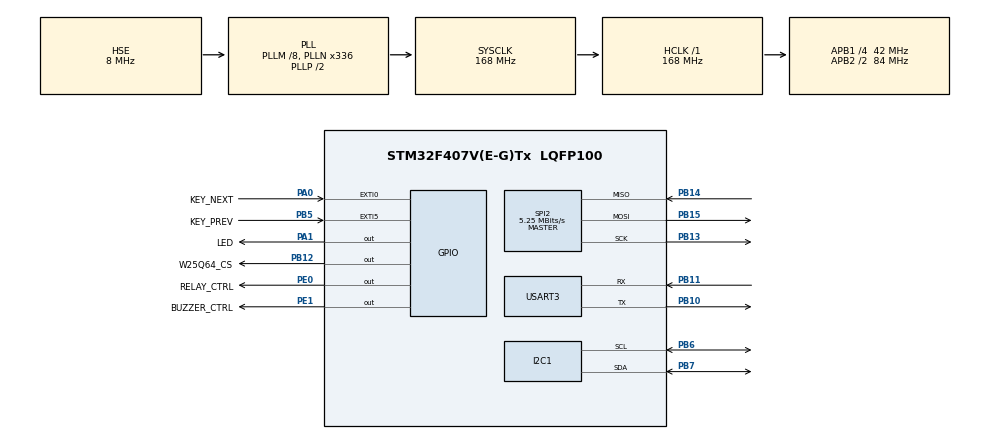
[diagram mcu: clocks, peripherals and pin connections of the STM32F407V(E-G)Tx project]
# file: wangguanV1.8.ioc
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FREERTOS.Mutexes01=i2c1Mutex,Static,i2c1MutexControlBlock,Available
FREERTOS.Queues01=sensorQueue,10,SensorMessage_t,0,Static,sensorQueueBuffer,ssensorQueueControlBlock;uiEventQueue,4,uint8_t,0,Dynamic,NULL,NULL
FREERTOS.Tasks01=defaultTask,8,128,StartDefaultTask,Default,NULL,Dynamic,NULL,NULL;SensorTask,32,512,StartSensorTask,Default,NULL,Dynamic,NULL,NULL;ProcessTask,24,512,StartProcessTask,Default,NULL,Dynamic,NULL,NULL;UITask,16,512,StartUITask,Default,NULL,Dynamic,NULL,NULL;CommTask,16,768,StartCommTask,Default,NULL,Dynamic,NULL,NULL
FREERTOS.configTIMER_TASK_STACK_DEPTH=256
Mcu.Family=STM32F4
Mcu.Name=STM32F407V(E-G)Tx
Mcu.Package=LQFP100
NVIC.EXTI0_IRQn=true\:5\:0\:false\:false\:true\:true\:true\:true\:true
NVIC.EXTI9_5_IRQn=true\:5\:0\:false\:false\:true\:true\:true\:true\:true
NVIC.PriorityGroup=NVIC_PRIORITYGROUP_4
NVIC.TIM6_DAC_IRQn=true\:15\:0\:false\:false\:true\:false\:false\:true\:true
NVIC.TimeBase=TIM6_DAC_IRQn
NVIC.TimeBaseIP=TIM6
PA0-WKUP.GPIO_Label=KEY_NEXT
PA0-WKUP.GPIO_PuPd=GPIO_PULLDOWN
PA0-WKUP.Signal=GPXTI0
PA1.GPIO_Label=LED
PA1.PinState=GPIO_PIN_SET
PA1.Signal=GPIO_Output
PA13.Mode=Serial_Wire
PA13.Signal=SYS_JTMS-SWDIO
PA14.Mode=Serial_Wire
PA14.Signal=SYS_JTCK-SWCLK
PB10.Mode=Asynchronous
PB10.Signal=USART3_TX
PB11.Mode=Asynchronous
PB11.Signal=USART3_RX
PB12.GPIO_Label=W25Q64_CS
PB12.GPIO_PuPd=GPIO_NOPULL
PB12.PinState=GPIO_PIN_SET
PB12.Signal=GPIO_Output
PB13.Mode=Full_Duplex_Master
PB13.Signal=SPI2_SCK
PB14.Mode=Full_Duplex_Master
PB14.Signal=SPI2_MISO
PB15.Mode=Full_Duplex_Master
PB15.Signal=SPI2_MOSI
PB5.GPIO_Label=KEY_PREV
PB5.GPIO_ModeDefaultEXTI=GPIO_MODE_IT_FALLING
PB5.GPIO_PuPd=GPIO_PULLUP
PB5.Signal=GPXTI5
PB6.Mode=I2C
PB6.Signal=I2C1_SCL
PB7.Mode=I2C
PB7.Signal=I2C1_SDA
PE0.GPIO_Label=RELAY_CTRL
PE0.Signal=GPIO_Output
PE1.GPIO_Label=BUZZER_CTRL
PE1.Signal=GPIO_Output
PH0-OSC_IN.Mode=HSE-External-Oscillator
PH0-OSC_IN.Signal=RCC_OSC_IN
PH1-OSC_OUT.Mode=HSE-External-Oscillator
PH1-OSC_OUT.Signal=RCC_OSC_OUT
ProjectManager.HeapSize=0x200
ProjectManager.StackSize=0x400
ProjectManager.TargetToolchain=MDK-ARM V5.32
RCC.48MHZClocksFreq_Value=84000000
RCC.AHBFreq_Value=168000000
RCC.APB1CLKDivider=RCC_HCLK_DIV4
RCC.APB1Freq_Value=42000000
RCC.APB1TimFreq_Value=84000000
RCC.APB2CLKDivider=RCC_HCLK_DIV2
RCC.APB2Freq_Value=84000000
RCC.APB2TimFreq_Value=168000000
RCC.CortexFreq_Value=168000000
RCC.HCLKFreq_Value=168000000
RCC.HSE_VALUE=8000000
RCC.HSI_VALUE=16000000
RCC.LSE_VALUE=32768
RCC.PLLM=8
RCC.PLLN=336
RCC.PLLSourceVirtual=RCC_PLLSOURCE_HSE
RCC.SYSCLKFreq_VALUE=168000000
RCC.SYSCLKSource=RCC_SYSCLKSOURCE_PLLCLK
RCC.VCOOutputFreq_Value=336000000
SPI2.BaudRatePrescaler=SPI_BAUDRATEPRESCALER_8
SPI2.CalculateBaudRate=5.25 MBits/s
SPI2.Direction=SPI_DIRECTION_2LINES
SPI2.Mode=SPI_MODE_MASTER
SPI2.VirtualType=VM_MASTER
USART3.VirtualMode=VM_ASYNC
VP_FREERTOS_VS_CMSIS_V2.Mode=CMSIS_V2
VP_SYS_VS_tim6.Mode=TIM6
board=custom

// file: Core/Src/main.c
/* USER CODE BEGIN Header */
/**
  ******************************************************************************
  * @file           : main.c
  * @brief          : Main program body
  ******************************************************************************
  * @attention
  *
  * Copyright (c) 2026 STMicroelectronics.
  * All rights reserved.
  *
  * This software is licensed under terms that can be found in the LICENSE file
  * in the root directory of this software component.
  * If no LICENSE file comes with this software, it is provided AS-IS.
  *
  ******************************************************************************
  */
/* USER CODE END Header */
#include "main.h"
#include "cmsis_os.h"
#include "i2c.h"
#include "spi.h"
#include "usart.h"
#include "gpio.h"

/* USER CODE BEGIN Includes */
#include "oled.h"
/* USER CODE END Includes */

void SystemClock_Config(void);
void MX_FREERTOS_Init(void);

int main(void)
{

  /* MCU Configuration--------------------------------------------------------*/

  /* Reset of all peripherals, Initializes the Flash interface and the Systick. */
  HAL_Init();

  /* Configure the system clock */
  SystemClock_Config();

  /* Initialize all configured peripherals */
  MX_GPIO_Init();
  MX_I2C1_Init();
  MX_SPI2_Init();
  MX_USART3_UART_Init();
  /* USER CODE BEGIN 2 */

	OLED_Init();

  /* USER CODE END 2 */

  /* Init scheduler */
  osKernelInitialize();  /* Call init function for freertos objects (in cmsis_os2.c) */
  MX_FREERTOS_Init();

  /* Start scheduler */
  osKernelStart();

  /* We should never get here as control is now taken by the scheduler */

  /* Infinite loop */
  while (1)
  {

  }
}

void SystemClock_Config(void)
{
  RCC_OscInitTypeDef RCC_OscInitStruct = {0};
  RCC_ClkInitTypeDef RCC_ClkInitStruct = {0};

  /** Configure the main internal regulator output voltage
  */
  __HAL_RCC_PWR_CLK_ENABLE();
  __HAL_PWR_VOLTAGESCALING_CONFIG(PWR_REGULATOR_VOLTAGE_SCALE1);

  /** Initializes the RCC Oscillators according to the specified parameters
  * in the RCC_OscInitTypeDef structure.
  */
  RCC_OscInitStruct.OscillatorType = RCC_OSCILLATORTYPE_HSE;
  RCC_OscInitStruct.HSEState = RCC_HSE_ON;
  RCC_OscInitStruct.PLL.PLLState = RCC_PLL_ON;
  RCC_OscInitStruct.PLL.PLLSource = RCC_PLLSOURCE_HSE;
  RCC_OscInitStruct.PLL.PLLM = 8;
  RCC_OscInitStruct.PLL.PLLN = 336;
  RCC_OscInitStruct.PLL.PLLP = RCC_PLLP_DIV2;
  RCC_OscInitStruct.PLL.PLLQ = 4;
  if (HAL_RCC_OscConfig(&RCC_OscInitStruct) != HAL_OK)
  {
    Error_Handler();
  }

  /** Initializes the CPU, AHB and APB buses clocks
  */
  RCC_ClkInitStruct.ClockType = RCC_CLOCKTYPE_HCLK|RCC_CLOCKTYPE_SYSCLK
                              |RCC_CLOCKTYPE_PCLK1|RCC_CLOCKTYPE_PCLK2;
  RCC_ClkInitStruct.SYSCLKSource = RCC_SYSCLKSOURCE_PLLCLK;
  RCC_ClkInitStruct.AHBCLKDivider = RCC_SYSCLK_DIV1;
  RCC_ClkInitStruct.APB1CLKDivider = RCC_HCLK_DIV4;
  RCC_ClkInitStruct.APB2CLKDivider = RCC_HCLK_DIV2;

  if (HAL_RCC_ClockConfig(&RCC_ClkInitStruct, FLASH_LATENCY_5) != HAL_OK)
  {
    Error_Handler();
  }
}

void HAL_TIM_PeriodElapsedCallback(TIM_HandleTypeDef *htim)
{
  if (htim->Instance == TIM6)
  {
    HAL_IncTick();
  }
}

void Error_Handler(void)
{
  __disable_irq();
  while (1)
  {
  }
}

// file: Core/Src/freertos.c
/* USER CODE BEGIN Header */
/**
  ******************************************************************************
  * File Name          : freertos.c
  * Description        : Code for freertos applications
  ******************************************************************************
  * @attention
  *
  * Copyright (c) 2026 STMicroelectronics.
  * All rights reserved.
  *
  * This software is licensed under terms that can be found in the LICENSE file
  * in the root directory of this software component.
  * If no LICENSE file comes with this software, it is provided AS-IS.
  *
  ******************************************************************************
  */
/* USER CODE END Header */

#include "FreeRTOS.h"
#include "task.h"
#include "main.h"
#include "cmsis_os.h"

/* USER CODE BEGIN Includes */
#include "mpu6050.h"
#include "sensor_data.h"
#include "sht30.h"
#include "oled.h"
#include "math.h"
#include "stddef.h"
#include "usart.h"
#include <stdio.h>
/* USER CODE END Includes */

typedef StaticQueue_t osStaticMessageQDef_t;
typedef StaticSemaphore_t osStaticMutexDef_t;
/* USER CODE BEGIN PTD */
osMutexId_t telemetryMutexHandle;
/* USER CODE END PTD */

/* USER CODE BEGIN PD */
#define UI_EVENT_NEXT    ((uint8_t)1U)
#define UI_EVENT_PREV    ((uint8_t)2U)
#define VIBRATION_WINDOW_SAMPLES    100U
#define ACCEL_HPF_ALPHA             0.9845f

#define VIBRATION_WARN_ENTER_G       0.05f
#define VIBRATION_WARN_CLEAR_G       0.04f

#define VIBRATION_CRITICAL_ENTER_G   0.15f
#define VIBRATION_CRITICAL_CLEAR_G   0.12f
/* USER CODE END PD */

/* USER CODE BEGIN Variables */
/* MPU650*/
MPU6050_RawData_t g_mpu_data;

MPU6050_PhysicalData_t g_mpu_physical_data;

volatile HAL_StatusTypeDef g_mpu_status;

/* 队列消息 */
SensorMessage_t g_process_message;
//记录发送次数
volatile uint32_t g_sensor_queue_send_count = 0U;
//记录丢帧次数
volatile uint32_t g_sensor_queue_drop_count = 0U;

/* I2CMutex 错误统计变量 */
volatile uint32_t g_i2c1_mutex_error_count = 0U;

/* SHT30 */
//测试sht30用
SHT30_Data_t g_sht30_data;
volatile HAL_StatusTypeDef g_sht30_start_status;
volatile HAL_StatusTypeDef g_sht30_read_status;
volatile uint32_t g_sht30_read_count = 0U;
volatile uint32_t g_sht30_error_count = 0U;

/* OLED分块刷新调试变量 */
volatile uint32_t g_oled_mutex_retry_count = 0U;

volatile uint32_t g_oled_update_error_count = 0U;

/* ProcessTask */
// ProcessTask 接收到的传感器数据缓存
MPU6050_SensorData_t g_process_mpu_data;
SHT30_SensorData_t   g_process_sht30_data;
//g_telemetry作为ProcessTask 的共享数据
Telemetry_t g_telemetry;
//g_ui_telemetry是UITask自己拿到的快照
Telemetry_t g_ui_telemetry;
volatile uint32_t g_comm_tx_ok_count = 0U;
volatile uint32_t g_comm_tx_error_count = 0U;
volatile uint32_t g_comm_mutex_error_count = 0U;
volatile uint32_t g_comm_format_error_count = 0U;
//代表UI页数；规定0，1，2
uint8_t g_ui_page = 0U;

/* USER CODE END Variables */
/* Definitions for defaultTask */
osThreadId_t defaultTaskHandle;
const osThreadAttr_t defaultTask_attributes = {
  .name = "defaultTask",
  .stack_size = 128 * 4,
  .priority = (osPriority_t) osPriorityLow,
};
/* Definitions for SensorTask */
osThreadId_t SensorTaskHandle;
const osThreadAttr_t SensorTask_attributes = {
  .name = "SensorTask",
  .stack_size = 512 * 4,
  .priority = (osPriority_t) osPriorityAboveNormal,
};
/* Definitions for ProcessTask */
osThreadId_t ProcessTaskHandle;
const osThreadAttr_t ProcessTask_attributes = {
  .name = "ProcessTask",
  .stack_size = 512 * 4,
  .priority = (osPriority_t) osPriorityNormal,
};
/* Definitions for UITask */
osThreadId_t UITaskHandle;
const osThreadAttr_t UITask_attributes = {
  .name = "UITask",
  .stack_size = 512 * 4,
  .priority = (osPriority_t) osPriorityBelowNormal,
};
/* Definitions for CommTask */
osThreadId_t CommTaskHandle;
const osThreadAttr_t CommTask_attributes = {
  .name = "CommTask",
  .stack_size = 768 * 4,
  .priority = (osPriority_t) osPriorityBelowNormal,
};
/* Definitions for sensorQueue */
osMessageQueueId_t sensorQueueHandle;
uint8_t sensorQueueBuffer[ 10 * sizeof( SensorMessage_t ) ];
osStaticMessageQDef_t ssensorQueueControlBlock;
const osMessageQueueAttr_t sensorQueue_attributes = {
  .name = "sensorQueue",
  .cb_mem = &ssensorQueueControlBlock,
  .cb_size = sizeof(ssensorQueueControlBlock),
  .mq_mem = &sensorQueueBuffer,
  .mq_size = sizeof(sensorQueueBuffer)
};
/* Definitions for uiEventQueue */
osMessageQueueId_t uiEventQueueHandle;
const osMessageQueueAttr_t uiEventQueue_attributes = {
  .name = "uiEventQueue"
};
/* Definitions for i2c1Mutex */
osMutexId_t i2c1MutexHandle;
osStaticMutexDef_t i2c1MutexControlBlock;
const osMutexAttr_t i2c1Mutex_attributes = {
  .name = "i2c1Mutex",
  .cb_mem = &i2c1MutexControlBlock,
  .cb_size = sizeof(i2c1MutexControlBlock),
};

/* USER CODE BEGIN FunctionPrototypes */

static uint8_t VibrationRms_Update(float accel_x_g,float accel_y_g,float accel_z_g,float *rms_out);

static VibrationState_t VibrationState_Update(VibrationState_t current_state,float vibration_rms_g);

/* USER CODE END FunctionPrototypes */

void StartDefaultTask(void *argument);
void StartSensorTask(void *argument);
void StartProcessTask(void *argument);
void StartUITask(void *argument);
void StartCommTask(void *argument);

void MX_FREERTOS_Init(void); /* (MISRA C 2004 rule 8.1) */

void MX_FREERTOS_Init(void) {
  /* USER CODE BEGIN Init */

	/* 初始化Telemetry基础信息 */
	g_telemetry.device_id = 0x0001;

	g_telemetry.frame_seq = 0;

	g_telemetry.timestamp_ms = 0;
  /* USER CODE END Init */
  /* Create the mutex(es) */
  /* creation of i2c1Mutex */
  i2c1MutexHandle = osMutexNew(&i2c1Mutex_attributes);

  /* USER CODE BEGIN RTOS_MUTEX */
  /* add mutexes, ... */
	telemetryMutexHandle = osMutexNew(NULL);
  /* USER CODE END RTOS_MUTEX */

  /* Create the queue(s) */
  /* creation of sensorQueue */
  sensorQueueHandle = osMessageQueueNew (10, sizeof(SensorMessage_t), &sensorQueue_attributes);

  /* creation of uiEventQueue */
  uiEventQueueHandle = osMessageQueueNew (4, sizeof(uint8_t), &uiEventQueue_attributes);

  /* Create the thread(s) */
  /* creation of defaultTask */
  defaultTaskHandle = osThreadNew(StartDefaultTask, NULL, &defaultTask_attributes);

  /* creation of SensorTask */
  SensorTaskHandle = osThreadNew(StartSensorTask, NULL, &SensorTask_attributes);

  /* creation of ProcessTask */
  ProcessTaskHandle = osThreadNew(StartProcessTask, NULL, &ProcessTask_attributes);

  /* creation of UITask */
  UITaskHandle = osThreadNew(StartUITask, NULL, &UITask_attributes);

  /* creation of CommTask */
  CommTaskHandle = osThreadNew(StartCommTask, NULL, &CommTask_attributes);

}

void StartDefaultTask(void *argument)
{
  for(;;)
  {
  }
}

void StartSensorTask(void *argument)
{
  /* USER CODE BEGIN StartSensorTask */

  (void)argument;

  SensorMessage_t sensor_message;
	osStatus_t queue_status;

	uint8_t mpu6050_ready = 0U;

  uint32_t next_wake_time;

	uint32_t next_mpu_retry_time;

  uint32_t now;

  uint32_t next_sht30_start_time;

  uint32_t sht30_read_time;

  uint8_t sht30_measure_pending = 0U;

  const uint32_t sensor_period_ms = 5U;

  const uint32_t sht30_period_ms = 100U;

  const uint32_t sht30_measure_wait_ms = 20U;
	/* ==================================================
	* 1. MPU6050 初始化
	* ================================================== */

	if (osMutexAcquire(i2c1MutexHandle, 10U) == osOK)
		{
			if (MPU6050_Init() == HAL_OK)
				{
					g_mpu_status = HAL_OK;
					mpu6050_ready = 1U;
				}
				else
					{
						g_mpu_status = HAL_ERROR;
						mpu6050_ready = 0U;
					}

					(void)osMutexRelease(i2c1MutexHandle);
		}
		else
			{
				g_mpu_status = HAL_ERROR;
				mpu6050_ready = 0U;
				g_i2c1_mutex_error_count++;
			}

/* ==================================================
* 2. SHT30 初始化
* ================================================== */
  if (osMutexAcquire(i2c1MutexHandle, 10U) == osOK)
  {
    if (SHT30_Init() != HAL_OK)
      {
        g_sht30_error_count++;
      }

      osMutexRelease(i2c1MutexHandle);
  }
  else
  {
    g_sht30_error_count++;
  }

/* ==================================================
* 3. 初始化时间
* ================================================== */
  next_wake_time = osKernelGetTickCount();
	next_mpu_retry_time = next_wake_time + 1000U;

  next_sht30_start_time =next_wake_time + sht30_period_ms;

  sht30_read_time = 0U;
/* ==================================================
* 4. SensorTask 主循环
* ================================================== */
  for(;;)
  {
	  now = osKernelGetTickCount();

		if ((mpu6050_ready == 0U) && ((int32_t)(now - next_mpu_retry_time) >= 0))
			{
				if (osMutexAcquire(i2c1MutexHandle, 2U) == osOK)
					{
						if (MPU6050_Init() == HAL_OK)
							{
								mpu6050_ready = 1U;
								g_mpu_status = HAL_OK;
							}
							else
								{
									g_mpu_status = HAL_ERROR;
								}

								(void)osMutexRelease(i2c1MutexHandle);
					}
					else
						{
							g_i2c1_mutex_error_count++;
						}
						next_mpu_retry_time = now + 1000U;
			}

    /* ==================================================
    * A. MPU6050 200Hz
    * ================================================== */

    if (osMutexAcquire(i2c1MutexHandle, 2U) == osOK)
    {
      g_mpu_status =MPU6050_ReadRawData(&g_mpu_data);

      osMutexRelease(i2c1MutexHandle);

       if (g_mpu_status == HAL_OK)
        {
          /* -----------------------------
           * 姿态计算
           * ----------------------------- */
					MPU6050_PhysicalData(&g_mpu_data,&g_mpu_physical_data);

           /* -----------------------------
            * 构造 MPU6050 消息
            * ----------------------------- */
          sensor_message.type =SENSOR_TYPE_MPU6050;

          sensor_message.timestamp =now;

          sensor_message.data.mpu6050.accel_x =g_mpu_data.accel_x;

          sensor_message.data.mpu6050.accel_y =g_mpu_data.accel_y;

          sensor_message.data.mpu6050.accel_z =g_mpu_data.accel_z;

          sensor_message.data.mpu6050.gyro_x =g_mpu_data.gyro_x;

          sensor_message.data.mpu6050.gyro_y =g_mpu_data.gyro_y;

          sensor_message.data.mpu6050.gyro_z =g_mpu_data.gyro_z;

          sensor_message.data.mpu6050.roll_g =g_mpu_physical_data.roll_g;

          sensor_message.data.mpu6050.pitch_g =g_mpu_physical_data.pitch_g;

          sensor_message.data.mpu6050.yaw_g =g_mpu_physical_data.yaw_g;

          sensor_message.data.mpu6050.roll_a =g_mpu_physical_data.roll_a;

          sensor_message.data.mpu6050.pitch_a =g_mpu_physical_data.pitch_a;

          sensor_message.data.mpu6050.Roll =g_mpu_physical_data.Roll;

          sensor_message.data.mpu6050.Pitch =g_mpu_physical_data.Pitch;

          sensor_message.data.mpu6050.Yaw =g_mpu_physical_data.Yaw;

           /* -----------------------------
            * 发送 MPU6050 数据
            * ----------------------------- */
           queue_status =osMessageQueuePut(sensorQueueHandle,&sensor_message,0U,0U);

           if (queue_status == osOK)
            {
							g_sensor_queue_send_count++;
						}
						else
						{
							g_sensor_queue_drop_count++;
						}
				}
		}
		else
		{
			g_i2c1_mutex_error_count++;
		}

		/* ==================================================
		* B. SHT30 100ms启动一次测量
		* ================================================== */

		if ((sht30_measure_pending == 0U) &&((int32_t)(now - next_sht30_start_time) >= 0))
		{
			if (osMutexAcquire(i2c1MutexHandle, 2U) == osOK)
			{
				g_sht30_start_status =SHT30_StartMeasurement();

				osMutexRelease(i2c1MutexHandle);

				if (g_sht30_start_status == HAL_OK)
				{
					sht30_measure_pending = 1U;

					sht30_read_time = now + sht30_measure_wait_ms;
				}
				else
				{
					g_sht30_error_count++;
				}

				next_sht30_start_time +=
				sht30_period_ms;
			}
			else
			{
				g_i2c1_mutex_error_count++;
			}
		}

		/* ==================================================
		* C. SHT30 20ms以后读取结果
		* ================================================== */

		if ((sht30_measure_pending != 0U) &&((int32_t)(now - sht30_read_time) >= 0))
		{
			if (osMutexAcquire(i2c1MutexHandle, 2U) == osOK)
			{
				g_sht30_read_status =SHT30_ReadMeasurement(&g_sht30_data);

				osMutexRelease(i2c1MutexHandle);

				if (g_sht30_read_status == HAL_OK)
				{
					sensor_message.type = SENSOR_TYPE_SHT30;

					sensor_message.timestamp = now;

					sensor_message.data.sht30.temperature_c = g_sht30_data.temperature_c;

					sensor_message.data.sht30.humidity_rh = g_sht30_data.humidity_rh;

					queue_status = osMessageQueuePut(sensorQueueHandle,&sensor_message,0U,0U);

					if (queue_status == osOK)
					{
						g_sensor_queue_send_count++;
					}
					else
					{
						g_sensor_queue_drop_count++;
					}

					g_sht30_read_count++;
				}
				else

				{
					g_sht30_error_count++;
				}

				sht30_measure_pending = 0U;
			}
			else
			{
				g_i2c1_mutex_error_count++;
			}
}

/* ==================================================
* D. 200Hz周期调度
* ================================================== */

next_wake_time += sensor_period_ms;

(void)osDelayUntil(next_wake_time);
  }
  /* USER CODE END StartSensorTask */
}

void StartProcessTask(void *argument)
{
  /* USER CODE BEGIN StartProcessTask */
	(void)argument;

	osStatus_t status;
	float accel_x_g;
	float accel_y_g;
	float accel_z_g;
	float vibration_rms_g;
	uint8_t vibration_rms_valid;

	float accel_magnitude_g;

	static VibrationState_t process_vibration_state = VIBRATION_STATE_UNKNOWN;

  /* Infinite loop */
  for(;;)
  {
		status = osMessageQueueGet(sensorQueueHandle,&g_process_message,NULL,osWaitForever);

		if (status == osOK)
		{
			switch (g_process_message.type)
			{
				case SENSOR_TYPE_MPU6050:

					/* 保存处理后的MPU6050数据 */

				g_process_mpu_data = g_process_message.data.mpu6050;
				/* Raw Acceleration -> g
				* 当前加速度量程为 ±2g
				* 灵敏度为 16384 LSB/g
				*/

				accel_x_g = (float)g_process_message.data.mpu6050.accel_x / 16384.0f;
				accel_y_g = (float)g_process_message.data.mpu6050.accel_y / 16384.0f;
				accel_z_g = (float)g_process_message.data.mpu6050.accel_z / 16384.0f;

				/* 三轴加速度模长 */

				accel_magnitude_g = sqrtf(accel_x_g * accel_x_g + accel_y_g * accel_y_g + accel_z_g * accel_z_g);

				vibration_rms_valid = VibrationRms_Update(accel_x_g,accel_y_g,accel_z_g,&vibration_rms_g);

				if (vibration_rms_valid != 0U)
					{
						process_vibration_state = VibrationState_Update(process_vibration_state,vibration_rms_g);
					}

				/* 写入共享Telemetry之前先获取互斥锁 */

				if (osMutexAcquire(telemetryMutexHandle, 10U) == osOK)
					{
						g_telemetry.timestamp_ms = osKernelGetTickCount();

						g_telemetry.roll = g_process_message.data.mpu6050.Roll;

						g_telemetry.pitch = g_process_message.data.mpu6050.Pitch;

						g_telemetry.yaw = g_process_message.data.mpu6050.Yaw;

						g_telemetry.accel_x = g_process_message.data.mpu6050.accel_x;

						g_telemetry.accel_y = g_process_message.data.mpu6050.accel_y;

						g_telemetry.accel_z = g_process_message.data.mpu6050.accel_z;

						/* 保存换算后的物理量 */
						g_telemetry.accel_x_g = accel_x_g;
						g_telemetry.accel_y_g = accel_y_g;
						g_telemetry.accel_z_g = accel_z_g;

						/* 保存三轴合成加速度 */
						g_telemetry.accel_magnitude_g = accel_magnitude_g;

						g_telemetry.vibration_rms_g = vibration_rms_g;
						g_telemetry.vibration_state = process_vibration_state;

						if (vibration_rms_valid != 0U)
							{
								g_telemetry.valid_mask |= TELEMETRY_VALID_DERIVED;
							}

						g_telemetry.valid_mask |= TELEMETRY_VALID_MPU6050;
						/* 写完立即释放 */
						osMutexRelease(telemetryMutexHandle);
					}

					break;

				case SENSOR_TYPE_SHT30:
					/* 将队列中的SHT30数据复制到处理缓存 */

				g_process_sht30_data = g_process_message.data.sht30;

				/* 写入共享Telemetry之前先获取互斥锁 */
				if (osMutexAcquire(telemetryMutexHandle, 10U) == osOK)
					{
						g_telemetry.timestamp_ms = osKernelGetTickCount();

						g_telemetry.temperature_c = g_process_message.data.sht30.temperature_c;

						g_telemetry.humidity_rh = g_process_message.data.sht30.humidity_rh;

						g_telemetry.valid_mask |= TELEMETRY_VALID_SHT30;

						/* 写完立即释放 */

						osMutexRelease(telemetryMutexHandle);

					}

					break;

				default:

				break;

			}
		}
  }
  /* USER CODE END StartProcessTask */
}

/* USER CODE BEGIN Header_StartUITask */
/**
* @brief Function implementing the UITask thread.
* @param argument: Not used
* @retval None
*/

static uint8_t UI_KeyIsPressed(uint8_t event)
{
    if (event == UI_EVENT_NEXT)
    {
        /* PA0：按下 = 1 */
        return (
            HAL_GPIO_ReadPin(GPIOA, GPIO_PIN_0)
            == GPIO_PIN_SET
        );
    }

    if (event == UI_EVENT_PREV)
    {
        /* PB5：按下 = 0 */
        return (
            HAL_GPIO_ReadPin(GPIOB, GPIO_PIN_5)
            == GPIO_PIN_RESET
        );
    }

    return 0U;
}

static void UI_HandleKeyEvent(uint8_t event)
{
    /* 等待机械触点稳定 */
    osDelay(20U);

    /* 20ms后再次确认按键仍然处于按下状态 */
    if (UI_KeyIsPressed(event) == 0U)
    {
        return;
    }

    /* 一次有效按键只翻一页 */
    if (event == UI_EVENT_NEXT)
    {
        g_ui_page++;

        if (g_ui_page >= 3U)
        {
            g_ui_page = 0U;
        }
    }
    else if (event == UI_EVENT_PREV)
    {
        if (g_ui_page == 0U)
        {
            g_ui_page = 2U;
        }
        else
        {
            g_ui_page--;
        }
    }

    /* 等待按键完全松开 */
    while (UI_KeyIsPressed(event) != 0U)
    {
        osDelay(5U);
    }

    /* 清理可能残留的抖动事件 */
    (void)osMessageQueueReset(uiEventQueueHandle);
}

/* USER CODE END Header_StartUITask */
void StartUITask(void *argument)
{
  /* USER CODE BEGIN StartUITask */

	(void)argument;

	uint8_t event;
	osStatus_t ui_status;

	/* OLED分块刷新状态 */
	uint8_t oled_page = 0U;
	uint8_t oled_column = 0U;
	uint8_t oled_update_pending = 0U;

	uint32_t next_ui_refresh_tick = 0U;
	uint32_t now;

	HAL_StatusTypeDef oled_status;

  /* Infinite loop */
  for(;;)
  {
/*--------------------------------------------------
* 0. 处理按键事件
*-------------------------------------------------*/

		ui_status = osMessageQueueGet(uiEventQueueHandle,&event,NULL,0U);

		if (ui_status == osOK)
		{
			UI_HandleKeyEvent(event);
		}
/*--------------------------------------------------
* 1. 获取Telemetry快照
*-------------------------------------------------*/

		now = osKernelGetTickCount();

		/* 只有上一帧刷新完成，才开始绘制下一帧 */
		if ((oled_update_pending == 0U) && ((int32_t)(now - next_ui_refresh_tick) >= 0))
			{
				next_ui_refresh_tick = now + 200U;

				if (osMutexAcquire(telemetryMutexHandle, 10U) == osOK)
					{
						g_ui_telemetry = g_telemetry;

						osMutexRelease(telemetryMutexHandle);
					}

/*--------------------------------------------------
* 2. 清空OLED显存
*-------------------------------------------------*/

			OLED_Clear();

			switch (g_ui_page)
				{
					/*======================================================
					* Page 0：System Overview
					*====================================================*/
				case 0U:
				OLED_ShowString(0,  0, "TEMP:");
				OLED_ShowString(0,  8, "HUM :");
				OLED_ShowString(0, 16, "ROLL:");
        OLED_ShowString(0, 24, "PITCH:");
        OLED_ShowString(0, 32, "YAW:");
        OLED_ShowString(0, 40, "MPU :");
        OLED_ShowString(0, 48, "SHT :");
        OLED_ShowString(0, 56, "PAGE 1/3");
				/*-------------------------
				* SHT30
				*-------------------------*/
				if ((g_ui_telemetry.valid_mask & TELEMETRY_VALID_SHT30) != 0U)
					{
						OLED_ShowFloat2(36,0,g_ui_telemetry.temperature_c);

						OLED_ShowString(72, 0, "C");

						OLED_ShowFloat2(36,8,g_ui_telemetry.humidity_rh);

            OLED_ShowString(72, 8, "%");
					}else
					{
						OLED_ShowString(36, 0, "----");
            OLED_ShowString(36, 8, "----");
					}
					/*-------------------------
					* MPU6050
					*-------------------------*/
					if ((g_ui_telemetry.valid_mask & TELEMETRY_VALID_MPU6050) != 0U)
						{
							OLED_ShowFloat2(30,16,g_ui_telemetry.roll);
							OLED_ShowFloat2(42,24,g_ui_telemetry.pitch);
							OLED_ShowFloat2(30,32,g_ui_telemetry.yaw);
							OLED_ShowString(36, 40, "OK");
						}
						else{
							OLED_ShowString(30, 16, "----");
							OLED_ShowString(42, 24, "----");
							OLED_ShowString(30, 32, "----");
							OLED_ShowString(36, 40, "--");
						}
						/*-------------------------
						* SHT30状态
						*-------------------------*/
						if ((g_ui_telemetry.valid_mask & TELEMETRY_VALID_SHT30) != 0U)
							{
								OLED_ShowString(36, 48, "OK");
							}else
							{

								OLED_ShowString(36, 48, "--");
							}
							break;
							/*======================================================
							* Page 1：MPU6050
							*====================================================*/
				case 1U:
				OLED_ShowString(0,  0, "MPU P2/3");
//				OLED_ShowString(54, 0, "P2/3");

        OLED_ShowString(0,  8, "ROLL:");
        OLED_ShowString(0, 16, "PITCH:");
        OLED_ShowString(0, 24, "YAW:");

        OLED_ShowString(0, 32, "ACCX:");
        OLED_ShowString(0, 40, "ACCY:");
        OLED_ShowString(0, 48, "ACCZ:");

//        OLED_ShowString(0, 56, "PAGE 2/3");

				if ((g_ui_telemetry.valid_mask & TELEMETRY_VALID_MPU6050) != 0U)
					{
						/* 姿态角 */
            OLED_ShowFloat2(36,8,g_ui_telemetry.roll);
						OLED_ShowFloat2(42,16,g_ui_telemetry.pitch);
						OLED_ShowFloat2(30,24,g_ui_telemetry.yaw);

            /* 加速度 Raw */
						OLED_ShowInt16(36,32,g_ui_telemetry.accel_x);

            OLED_ShowInt16(36,40,g_ui_telemetry.accel_y);

            OLED_ShowInt16(36,48,g_ui_telemetry.accel_z);

//            OLED_ShowString(42,56,"OK");
					}else
					{
						OLED_ShowString(36, 8, "----");
            OLED_ShowString(42, 16, "----");
            OLED_ShowString(30, 24, "----");

            OLED_ShowString(36, 32, "----");
            OLED_ShowString(36, 40, "----");
            OLED_ShowString(36, 48, "----");

//            OLED_ShowString(42,56,"--");
					}

					/*----------------------------------------------
					* 显示振动 RMS
					* 单位：g
					*---------------------------------------------*/
					OLED_ShowString(0, 56, "RMS:");

					if (((g_ui_telemetry.valid_mask & TELEMETRY_VALID_MPU6050) != 0U) && ((g_ui_telemetry.valid_mask & TELEMETRY_VALID_DERIVED) != 0U))
						{
							OLED_ShowFloat2(30,56,g_ui_telemetry.vibration_rms_g);

							OLED_ShowString(66, 56, "G");
						}
						else
							{
								OLED_ShowString(30, 56, "----");
							}
							/* 显示振动状态 */

							if ((g_ui_telemetry.valid_mask & TELEMETRY_VALID_DERIVED) != 0U)
								{
									switch (g_ui_telemetry.vibration_state)
										{
										case VIBRATION_STATE_NORMAL:
											OLED_ShowString(82, 56, "NORM");
										break;

										case VIBRATION_STATE_WARNING:
											OLED_ShowString(82, 56, "WARN");
										break;

										case VIBRATION_STATE_CRITICAL:
											OLED_ShowString(82, 56, "CRIT");
										break;

										case VIBRATION_STATE_UNKNOWN:
										default:
											OLED_ShowString(82, 56, "INIT");
										break;
										}
								}
								else
									{
										OLED_ShowString(82, 56, "INIT");
									}
        break;

					/*======================================================
					* Page 2：SHT30
					*====================================================*/
    case 2U:

        OLED_ShowString(0,  0, "SHT30");
//        OLED_ShowString(36, 0, "P3/3");

        OLED_ShowString(0,  8, "TEMP:");
        OLED_ShowString(0, 16, "HUM :");
        OLED_ShowString(0, 24, "STATUS:");

        OLED_ShowString(0, 32, "DATA: LIVE");
        OLED_ShowString(0, 40, "ENV SENSOR");
        OLED_ShowString(0, 48, "SENSOR OK");
        OLED_ShowString(0, 56, "PAGE 3/3");

        if ((g_ui_telemetry.valid_mask & TELEMETRY_VALID_SHT30) != 0U)
					{
						OLED_ShowFloat2(36,8,g_ui_telemetry.temperature_c);

            OLED_ShowString(72,8,"C");

            OLED_ShowFloat2(36,16,g_ui_telemetry.humidity_rh);

            OLED_ShowString(72,16,"%");

            OLED_ShowString(42,24,"OK");
					}
					else{
						OLED_ShowString(36,8,"----");

            OLED_ShowString(36,16,"----");

            OLED_ShowString(42,24,"--");
					}

        break;

		default:

		g_ui_page = 0U;
		break;
				}
				/* 当前帧绘制完成，准备分块刷新 */
				oled_page = 0U;
				oled_column = 0U;
				oled_update_pending = 1U;
			}
/* 结束200ms界面绘制周期 */

/*--------------------------------------------------
 * 5. OLED分块刷新
 * 每次只发送一个数据块
 *--------------------------------------------------*/

if (oled_update_pending != 0U)
{
    if (osMutexAcquire(i2c1MutexHandle, 2U) == osOK)
    {
        /* 发送当前数据块 */
        oled_status = OLED_UpdateChunk(
            oled_page,
            oled_column
        );

        /* 无论传输是否成功，都释放Mutex */
        (void)osMutexRelease(i2c1MutexHandle);

        if (oled_status == HAL_OK)
        {
            /* 当前数据块发送成功 */

            oled_column += OLED_UPDATE_CHUNK_SIZE;

            /* 当前Page发送完成 */
            if (oled_column >= OLED_WIDTH)
            {
                oled_column = 0U;
                oled_page++;

                /* 整屏刷新完成 */
                if (oled_page >= (OLED_HEIGHT / 8U))
                {
                    oled_update_pending = 0U;
                }
            }
        }
        else
        {
            /* 发送失败，保留当前位置，下次重试 */
            g_oled_update_error_count++;
        }
    }
    else
    {
        /* Mutex暂时不可用，下次循环重试 */
        g_oled_mutex_retry_count++;
    }
}

/* 让出CPU，给其他任务运行机会 */
osDelay(1U);

/*--------------------------------------------------
* 6. UI刷新周期 200ms = 5Hz
*-------------------------------------------------*/

  }
  /* USER CODE END StartUITask */
}

void StartCommTask(void *argument)
{
  /* USER CODE BEGIN StartCommTask */
	(void)argument;

	Telemetry_t telemetry_snapshot;
	char tx_buf[160];
	int len;
	HAL_StatusTypeDef tx_status;
  /* Infinite loop */
  for(;;)
  {
		/* 1. 读取一致的遥测数据快照 */
		if (osMutexAcquire(telemetryMutexHandle, 10U) == osOK)
			{
				g_telemetry.frame_seq++;
				telemetry_snapshot = g_telemetry;

				osMutexRelease(telemetryMutexHandle);

				/* 2. 将遥测数据转换为文本帧 */
				len = snprintf(
				tx_buf,
				sizeof(tx_buf),
					"TLM,%u,%u,%lu,%ld,%ld,%ld,%d,%d,%d,%ld,%ld,%ld,%u,%u\r\n",
				(unsigned int)telemetry_snapshot.device_id,
					(unsigned int)telemetry_snapshot.frame_seq,
						(unsigned long)telemetry_snapshot.timestamp_ms,
							(long)(telemetry_snapshot.roll * 100.0f),
								(long)(telemetry_snapshot.pitch * 100.0f),
									(long)(telemetry_snapshot.yaw * 100.0f),
										(int)telemetry_snapshot.accel_x,
											(int)telemetry_snapshot.accel_y,
												(int)telemetry_snapshot.accel_z,
													(long)(telemetry_snapshot.temperature_c * 100.0f),
														(long)(telemetry_snapshot.humidity_rh * 100.0f),
															(long)(telemetry_snapshot.vibration_rms_g * 1000.0f),
																(unsigned int)telemetry_snapshot.vibration_state,
																	(unsigned int)telemetry_snapshot.valid_mask
																		);
																	/* 3. 发送完整文本帧 */
																	if ((len > 0) && ((size_t)len < sizeof(tx_buf)))
																		{
																			tx_status = HAL_UART_Transmit(
																			&huart3,
																			(uint8_t *)tx_buf,
																			(uint16_t)len,

																			100U
																			);

																			if (tx_status != HAL_OK)
																				{
																					g_comm_tx_error_count++;
																				}
																				else
																					{
																						g_comm_tx_ok_count++;
																					}

																		}
																		else
																			{
																				g_comm_format_error_count++;
																			}

			}
			else
				{
					g_comm_mutex_error_count++;
				}

        /* 约每100ms发送一次 */
        osDelay(100U);
  }
  /* USER CODE END StartCommTask */
}

/* USER CODE BEGIN Application */

/*-----------------------------------------------------------
 * 三轴动态加速度 RMS
 *
 * 输入：三轴加速度，单位 g
 * 输出：100点窗口的三轴合成振动 RMS，单位 g
 *----------------------------------------------------------*/
static uint8_t VibrationRms_Update(float accel_x_g,float accel_y_g,float accel_z_g,float *rms_out)
	{
		static uint8_t initialized = 0U;
    static uint8_t result_valid = 0U;

    static float prev_input_x = 0.0f;
    static float prev_input_y = 0.0f;
    static float prev_input_z = 0.0f;

    static float prev_output_x = 0.0f;
    static float prev_output_y = 0.0f;
    static float prev_output_z = 0.0f;

    static float square_sum = 0.0f;
    static uint16_t sample_count = 0U;
    static float last_rms = 0.0f;

    float hpf_x;
    float hpf_y;
    float hpf_z;

    if (rms_out == NULL)
    {
        return 0U;
    }

    /* 初始化滤波器，避免上电时产生较大的启动尖峰 */
    if (initialized == 0U)
    {
        prev_input_x = accel_x_g;
        prev_input_y = accel_y_g;
        prev_input_z = accel_z_g;

        prev_output_x = 0.0f;
        prev_output_y = 0.0f;
        prev_output_z = 0.0f;

        initialized = 1U;
    }
    else
    {
        /* 三轴分别进行一阶高通滤波 */
        hpf_x = ACCEL_HPF_ALPHA *
                (prev_output_x + accel_x_g - prev_input_x);

        hpf_y = ACCEL_HPF_ALPHA *
                (prev_output_y + accel_y_g - prev_input_y);

        hpf_z = ACCEL_HPF_ALPHA *
                (prev_output_z + accel_z_g - prev_input_z);

        /* 保存本次输入与输出 */
        prev_input_x = accel_x_g;
        prev_input_y = accel_y_g;
        prev_input_z = accel_z_g;

        prev_output_x = hpf_x;
        prev_output_y = hpf_y;
        prev_output_z = hpf_z;

        /* 累积三轴动态加速度平方和 */
        square_sum +=
            hpf_x * hpf_x +
            hpf_y * hpf_y +
            hpf_z * hpf_z;

        sample_count++;

        /* 每100个样本更新一次RMS */
        if (sample_count >= VIBRATION_WINDOW_SAMPLES)
        {
            last_rms = sqrtf(
                square_sum /
                (float)VIBRATION_WINDOW_SAMPLES
            );

            square_sum = 0.0f;
            sample_count = 0U;

            result_valid = 1U;
        }
    }

    *rms_out = last_rms;

    return result_valid;
}

static VibrationState_t VibrationState_Update(VibrationState_t current_state,float vibration_rms_g)
{
    switch (current_state)
    {
        case VIBRATION_STATE_UNKNOWN:
        case VIBRATION_STATE_NORMAL:

            if (vibration_rms_g >=
                VIBRATION_CRITICAL_ENTER_G)
            {
                return VIBRATION_STATE_CRITICAL;
            }

            if (vibration_rms_g >=
                VIBRATION_WARN_ENTER_G)
            {
                return VIBRATION_STATE_WARNING;
            }

            return VIBRATION_STATE_NORMAL;

        case VIBRATION_STATE_WARNING:

            if (vibration_rms_g >=
                VIBRATION_CRITICAL_ENTER_G)
            {
                return VIBRATION_STATE_CRITICAL;
            }

            if (vibration_rms_g <
                VIBRATION_WARN_CLEAR_G)
            {
                return VIBRATION_STATE_NORMAL;
            }

            return VIBRATION_STATE_WARNING;

        case VIBRATION_STATE_CRITICAL:

            if (vibration_rms_g <
                VIBRATION_WARN_CLEAR_G)
            {
                return VIBRATION_STATE_NORMAL;
            }

            if (vibration_rms_g <
                VIBRATION_CRITICAL_CLEAR_G)
            {
                return VIBRATION_STATE_WARNING;
            }

            return VIBRATION_STATE_CRITICAL;

        default:

            return VIBRATION_STATE_UNKNOWN;
    }
}

void HAL_GPIO_EXTI_Callback(uint16_t GPIO_Pin)
{
	uint8_t event;

	if (GPIO_Pin == KEY_NEXT_Pin)
	{
		event = UI_EVENT_NEXT;

		(void)osMessageQueuePut(uiEventQueueHandle,&event,0U,0U);
	}
	else if(GPIO_Pin == KEY_PREV_Pin)
	{
		event = UI_EVENT_PREV;

		(void)osMessageQueuePut(uiEventQueueHandle,&event,0U,0U);
	}
}

/* USER CODE END Application */
